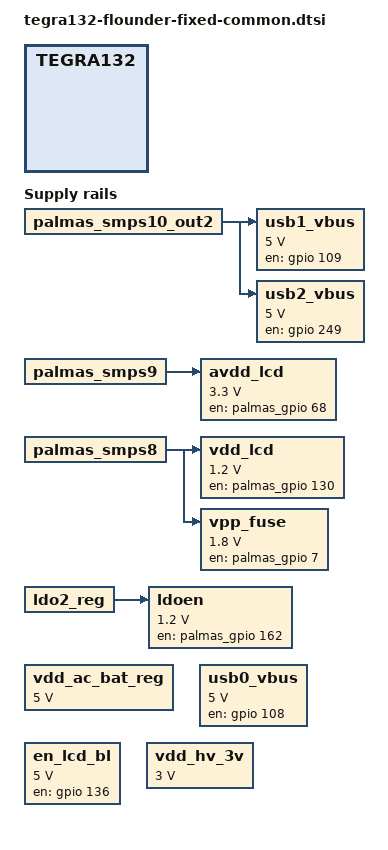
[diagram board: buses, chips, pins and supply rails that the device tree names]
/*
 * Copyright (c) 2014, NVIDIA CORPORATION.  All rights reserved.
 *
 * This program is free software; you can redistribute it and/or modify
 * it under the terms of the GNU General Public License as published by
 * the Free Software Foundation; either version 2 of the License, or
 * (at your option) any later version.
 *
 * This program is distributed in the hope that it will be useful, but WITHOUT
 * ANY WARRANTY; without even the implied warranty of MERCHANTABILITY or
 * FITNESS FOR A PARTICULAR PURPOSE.  See the GNU General Public License for
 * more details.
 *
 * You should have received a copy of the GNU General Public License along
 * with this program; if not, write to the Free Software Foundation, Inc.,
 * 51 Franklin Street, Fifth Floor, Boston, MA  02110-1301, USA.
 */

#include <dt-bindings/gpio/tegra-gpio.h>

/ {
	regulators {
		compatible = "simple-bus";
		#address-cells = <1>;
		#size-cells = <0>;

		vdd_ac_bat_reg: regulator@0 {
			compatible = "regulator-fixed";
			reg = <0>;
			regulator-name = "vdd_ac_bat";
			regulator-min-microvolt = <5000000>;
			regulator-max-microvolt = <5000000>;
			regulator-always-on;

		};

		usb0_vbus: regulator@1 {
			compatible = "regulator-fixed-sync";
			reg = <1>;
			regulator-name = "usb0-vbus";
			regulator-min-microvolt = <5000000>;
			regulator-max-microvolt = <5000000>;
			gpio = <&gpio 108 GPIO_ACTIVE_LOW>; /*  TEGRA_PN4 */
			enable-active-high;
			gpio-open-drain;

		};

		usb1_vbus: regulator@2 {
			compatible = "regulator-fixed-sync";
			reg = <2>;
			regulator-name = "usb1-vbus";
			regulator-min-microvolt = <5000000>;
			regulator-max-microvolt = <5000000>;
			enable-active-high;
			gpio = <&gpio 109 GPIO_ACTIVE_LOW>; /* TEGRA_PN5 */
			gpio-open-drain;
			vin-supply = <&palmas_smps10_out2>;

		};

		usb2_vbus: regulator@3 {
			compatible = "regulator-fixed-sync";
			reg = <3>;
			regulator-name = "usb2-vbus";
			regulator-min-microvolt = <5000000>;
			regulator-max-microvolt = <5000000>;
			enable-active-high;
			gpio = <&gpio 249 GPIO_ACTIVE_LOW>; /* TEGRA_PFF1 */
			gpio-open-drain;
			vin-supply = <&palmas_smps10_out2>;

		};

		avdd_lcd: regulator@4 {
			compatible = "regulator-fixed-sync";
			reg = <4>;
			regulator-name = "avdd_lcd";
			regulator-min-microvolt = <3300000>;
			regulator-max-microvolt = <3300000>;
			gpio = <&palmas_gpio 68 GPIO_ACTIVE_LOW>;
			regulator-boot-on;
			enable-active-high;
			vin-supply = <&palmas_smps9>;

		};

		vdd_lcd: regulator@5 {
			compatible = "regulator-fixed-sync";
			reg = <5>;
			regulator-name = "vdd_lcd";
			regulator-min-microvolt = <1200000>;
			regulator-max-microvolt = <1200000>;
			regulator-boot-on;
			enable-active-high;
			gpio = <&palmas_gpio 130 GPIO_ACTIVE_LOW>;
			vin-supply = <&palmas_smps8>;

		};

		ldoen: regulator@6 {
			compatible = "regulator-fixed-sync";
			reg = <6>;
			regulator-name = "ldoen";
			regulator-min-microvolt = <1200000>;
			regulator-max-microvolt = <1200000>;
			regulator-boot-on;
			enable-active-high;
			gpio = <&palmas_gpio 162 GPIO_ACTIVE_LOW>;
			vin-supply = <&ldo2_reg>;

		};

		vpp_fuse: regulator@7 {
			compatible = "regulator-fixed-sync";
			reg = <7>;
			regulator-name = "vpp_fuse";
			regulator-min-microvolt = <1800000>;
			regulator-max-microvolt = <1800000>;
			enable-active-high;
			gpio = <&palmas_gpio 7 GPIO_ACTIVE_LOW>;
			vin-supply = <&palmas_smps8>;

		};

		en_lcd_bl: regulator@8 {
			compatible = "regulator-fixed-sync";
			reg = <8>;
			regulator-name = "en_lcd_bl";
			regulator-min-microvolt = <5000000>;
			regulator-max-microvolt = <5000000>;
			regulator-boot-on;
			enable-active-high;
			gpio = <&gpio 136 GPIO_ACTIVE_LOW>; /* TEGRA_PQ6 */

		};

		vdd_hv_3v: regulator@9 {
			compatible = "regulator-fixed";
			reg = <9>;
			regulator-name = "vdd_hv_3v";
			regulator-min-microvolt = <3000000>;
			regulator-max-microvolt = <3000000>;
			regulator-boot-on;
			regulator-always-on;
			consumers {
				c1 {
					regulator-consumer-supply = "vdd";
					regulator-consumer-device = "0-004c";
				};
			};
		};
	};
};
